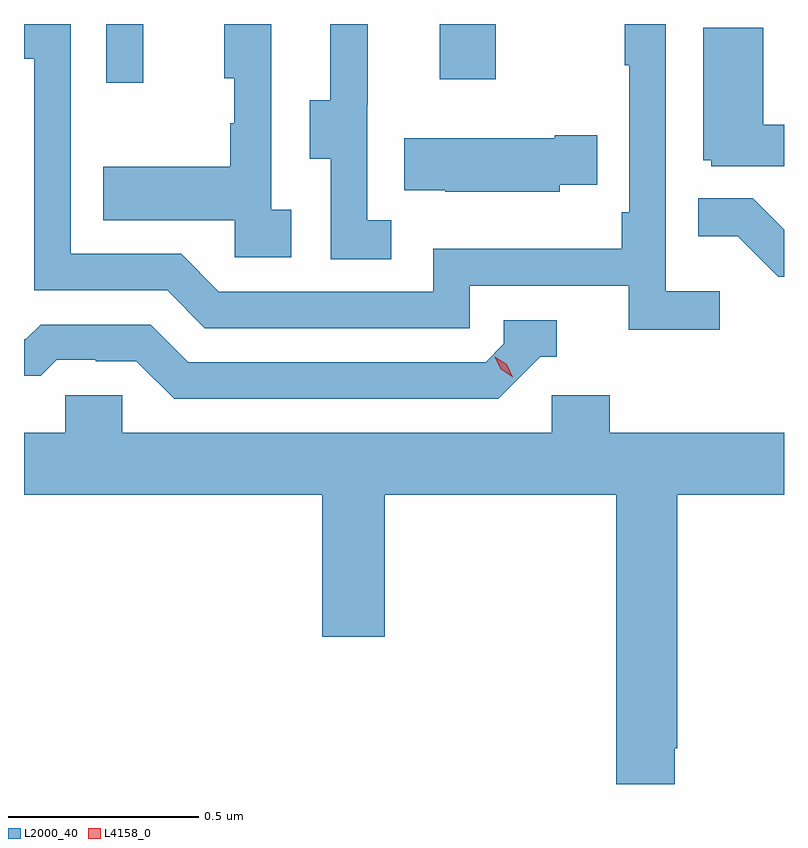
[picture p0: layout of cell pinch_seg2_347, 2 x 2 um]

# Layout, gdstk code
import gdstk
lib = gdstk.Library(unit=1e-6, precision=1e-09)
def R(c, l, rs):  # rectangles x0, y0, x1, y1
    for r in rs: c.add(gdstk.rectangle(r[:2], r[2:], *l))
def P(c, l, *ps):  # polygons
    for p in ps: c.add(gdstk.Polygon(p, *l))
L2000_40 = (2000, 40)
L4158_0 = (4158, 0)

pinch_seg2_347 = lib.new_cell('pinch_seg2_347')
R(pinch_seg2_347, L2000_40, [(967.635,635.4,967.733,635.555), (968.513,635.409,968.661,635.555)])
P(pinch_seg2_347, L2000_40, [(968.122,635.066),(968.07,635.066),(968.07,635.555),(967.946,635.555),(967.946,635.412),(967.972,635.412),(967.972,635.294),(967.962,635.294),(967.962,635.179),(967.627,635.179),(967.627,635.039),(967.974,635.039),(967.974,634.941),(968.122,634.941)],
  [(968.386,635.039),(968.322,635.039),(968.322,635.343),(968.324,635.343),(968.324,635.555),(968.225,635.555),(968.225,635.355),(968.171,635.355),(968.171,635.2),(968.226,635.2),(968.226,634.936),(968.386,634.936)],
  [(969.25,634.852),(969.108,634.852),(969.108,635.555),(969,635.555),(969,635.447),(969.012,635.447),(969.012,635.059),(968.992,635.059),(968.992,634.963),(968.496,634.963),(968.496,634.851),(967.932,634.851),(967.833,634.95),(967.542,634.95),(967.542,635.555),(967.419,635.555),(967.419,635.463),(967.446,635.463),(967.446,634.854),(967.796,634.854),(967.895,634.755),(968.592,634.755),(968.592,634.866),(969.011,634.866),(969.011,634.75),(969.25,634.75)],
  [(969.419,635.29),(969.364,635.29),(969.364,635.545),(969.206,635.545),(969.206,635.196),(969.228,635.196),(969.228,635.181),(969.419,635.181)],
  [(968.829,635.132),(968.927,635.132),(968.927,635.262),(968.816,635.262),(968.816,635.254),(968.419,635.254),(968.419,635.117),(968.527,635.117),(968.527,635.114),(968.829,635.114)],
  [(969.419,635.014),(969.337,635.096),(969.193,635.096),(969.193,634.997),(969.297,634.997),(969.404,634.89),(969.419,634.89)],
  [(968.778,634.68),(968.821,634.68),(968.821,634.776),(968.682,634.776),(968.682,634.713),(968.634,634.665),(967.851,634.665),(967.752,634.764),(967.463,634.764),(967.424,634.725),(967.419,634.725),(967.419,634.629),(967.463,634.629),(967.505,634.671),(967.608,634.671),(967.608,634.668),(967.715,634.668),(967.814,634.569),(968.667,634.569)],
  [(969.131,633.649),(969.138,633.649),(969.138,634.316),(969.419,634.316),(969.419,634.48),(968.96,634.48),(968.96,634.578),(968.808,634.578),(968.808,634.48),(967.677,634.48),(967.677,634.578),(967.527,634.578),(967.527,634.48),(967.419,634.48),(967.419,634.316),(968.204,634.316),(968.204,633.942),(968.368,633.942),(968.368,634.316),(968.978,634.316),(968.978,633.555),(969.131,633.555)])
P(pinch_seg2_347, L4158_0, [(968.705,634.626),(968.674,634.646),(968.658,634.679),(968.658,634.68),(968.658,634.68),(968.689,634.659),(968.705,634.626),(968.705,634.626)])

lib.write_gds('pinch_seg2_347.gds')
